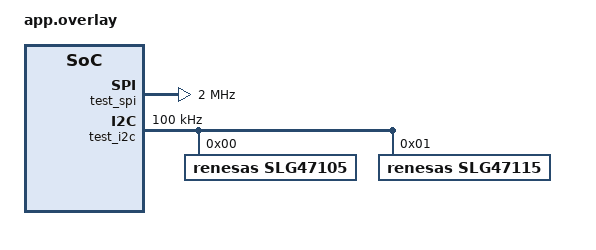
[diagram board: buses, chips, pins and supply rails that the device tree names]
/*
 * Copyright (c) 2020, Linaro Ltd.
 *
 * SPDX-License-Identifier: Apache-2.0
 *
 * Application overlay for testing driver builds
 *
 * Names in this file should be chosen in a way that won't conflict
 * with real-world devicetree nodes, to allow these tests to run on
 * (and be extended to test) real hardware.
 */

/ {
	test {
		#address-cells = <1>;
		#size-cells = <1>;

		test_gpio: gpio@deadbeef {
			compatible = "vnd,gpio";
			reg = <0xdeadbeef 0x1000>;
			gpio-controller;
			#gpio-cells = <0x2>;
			status = "okay";
		};

		test_spi: spi@33334444 {
			compatible = "vnd,spi";
			reg = <0x33334444 0x1000>;
			#address-cells = <1>;
			#size-cells = <0>;
			clock-frequency = <2000000>;

			/* one entry for every devices at spi.dtsi */
			cs-gpios = <&test_gpio 0 0>,    /* 0x00 */
				   <&test_gpio 0 0>;
			status = "okay";

#include "spi.dtsi"
		};

		test_i2c: i2c@11112222 {
			compatible = "vnd,i2c";
			reg = <0x11112222 0x1000>;
			#address-cells = <1>;
			#size-cells = <0>;
			clock-frequency = <100000>;
			status = "okay";

			slg47105@0 {
				compatible = "renesas,slg47105";
				reg = <0x00>;
				status = "okay";
			};

			slg47115@1 {
				compatible = "renesas,slg47115";
				reg = <0x01>;
				status = "okay";
			};
		};
	};

	fpga0: bridges {
		compatible = "altr,socfpga-agilex-bridge";
		status = "okay";
	};

	sip_smc: smc {
		compatible = "intel,socfpga-agilex-sip-smc";
		method = "smc";
		zephyr,num-clients = <2>;
		status = "okay";
	};
};

/* Put device specific modifications to properties or disabling of devices
 * here to keep the bus specific dtsi files (i2c.dtsi, spi.dtsi, etc..)
 * pristine
 */
